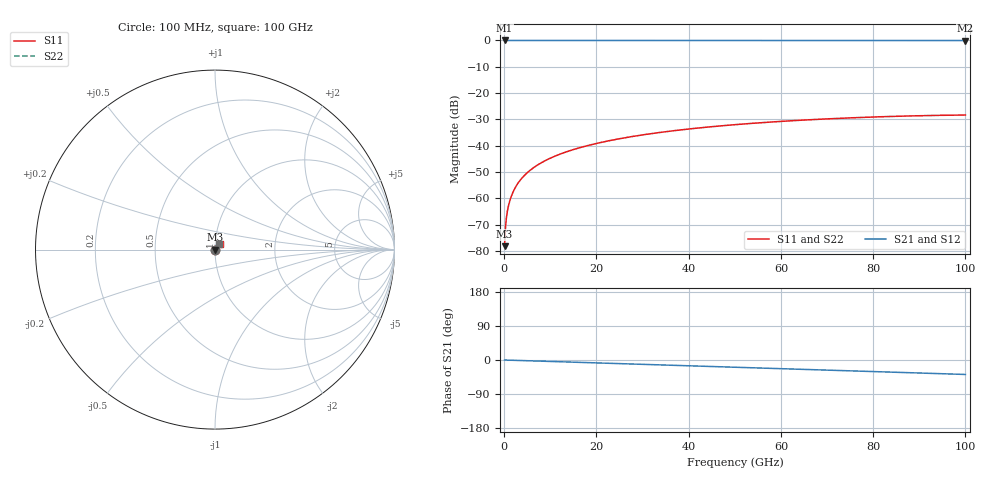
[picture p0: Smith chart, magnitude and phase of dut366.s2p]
! Touchstone file exported from HFSS 2026.1.0
!  File:  C:/ffzhzh/LocalFiles/Ansys_Project_Files/temp_train_TSV_366_1783510259_31944.aedt
!  Generated:  07:32:17 PM Jul  8, 2026
!  Design:  TSV
!  Project:  temp_train_TSV_366_1783510259_31944
! Variables:
!  h_bsmrdl = 2um
!  h_ox = 20um
!  h_rdl = 5um
!  h_sub = 72.52um
!  h_tmrdl = 5um
!  h_tsv = 72.52um
!  h_via = 3um
!  l_bsmrdl = 300um
!  l_sub = 425.2um
!  l_tmrdl = 200um
!  m_sub = 200um
!  pitch = 54.86um
!  r_tsv = 12.6um
!  s_tmrdl = 10um
!  w_bsmrdl = 18um
!  w_sub = 500um
!  w_tmrdl = 12um
!  x_tsv_center1 = 206um
!  x_tsv_center2 = 524um
!  x_tsv_center3 = 736um
!  x_tsv_center4 = 1054um
!  x_tsv_center5 = 1266um
!  x_tsv_center6 = 1584um
# GHz S MA R 50.000000
! Terminal data exported
! Port[1] = TSV1_1_T1
! Port[2] = TSV1_1_T2
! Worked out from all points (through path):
!   1000 points, 100 MHz to 100 GHz, reference 50 ohm
!   highest |S21| = 0.00 dB at 100 MHz (marker M1); lowest = 0.0 dB at 100 GHz (marker M2)
!   group delay of S21, straight-line fit = 1.06 ps
!   lowest |S11| = -78.1 dB at 100 MHz (marker M3), VSWR 1.00, Z = 50 + j0.00923 ohm
!   |S11| at or under -10 dB: start of sweep to end of sweep
!   |S22| runs from -78.1 to -28.3 dB; largest |S21 - S12| = 3.3e-15
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0.1  0.0001242 48.0  0.9999 -0.0  0.9999 -0.0  0.0001242 48.0
! Gamma 0 0 0 0
! Port Impedance 50 0 50 0
0.3  0.0002865 66.7  0.9999 -0.1  0.9999 -0.1  0.0002865 66.7
0.7  0.0005729 71.0  0.9998 -0.3  0.9998 -0.3  0.0005729 71.0
0.8  0.0006371 71.6  0.9998 -0.3  0.9998 -0.3  0.0006371 71.6
1  0.0007619 72.7  0.9998 -0.4  0.9998 -0.4  0.0007619 72.7
1.3  0.000945 74.1  0.9997 -0.5  0.9997 -0.5  0.000945 74.1
1.8  0.001246 75.7  0.9997 -0.7  0.9997 -0.7  0.001246 75.7
2.4  0.001601 76.9  0.9997 -0.9  0.9997 -0.9  0.001601 76.9
3.1  0.002007 77.7  0.9996 -1.2  0.9996 -1.2  0.002007 77.7
3.9  0.002462 78.3  0.9996 -1.5  0.9996 -1.5  0.002462 78.3
4.9  0.003022 78.8  0.9995 -1.9  0.9995 -1.9  0.003022 78.8
6.1  0.003686 79.2  0.9995 -2.3  0.9995 -2.3  0.003686 79.2
8.9  0.005217 79.4  0.9993 -3.4  0.9993 -3.4  0.005217 79.4
12.4  0.0071 78.9  0.9992 -4.7  0.9992 -4.7  0.0071 78.9
16.8  0.009416 78.0  0.999 -6.4  0.999 -6.4  0.009416 78.0
24.2  0.01321 76.0  0.9988 -9.2  0.9988 -9.2  0.01321 76.1
33.4  0.01774 73.2  0.9985 -12.7  0.9985 -12.7  0.01774 73.2
41.3  0.02141 70.5  0.9983 -15.7  0.9983 -15.7  0.02141 70.6
50.1  0.02521 67.4  0.9981 -19.0  0.9981 -19.0  0.02521 67.5
66.7  0.03138 61.5  0.9976 -25.4  0.9976 -25.4  0.03138 61.6
83.4  0.03598 55.3  0.9972 -31.8  0.9972 -31.8  0.03597 55.4
100  0.0384 49.2  0.9967 -38.1  0.9967 -38.1  0.0384 49.3
